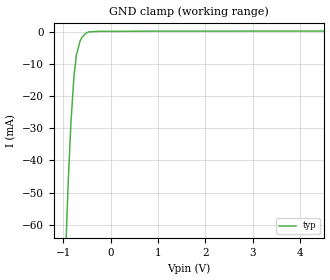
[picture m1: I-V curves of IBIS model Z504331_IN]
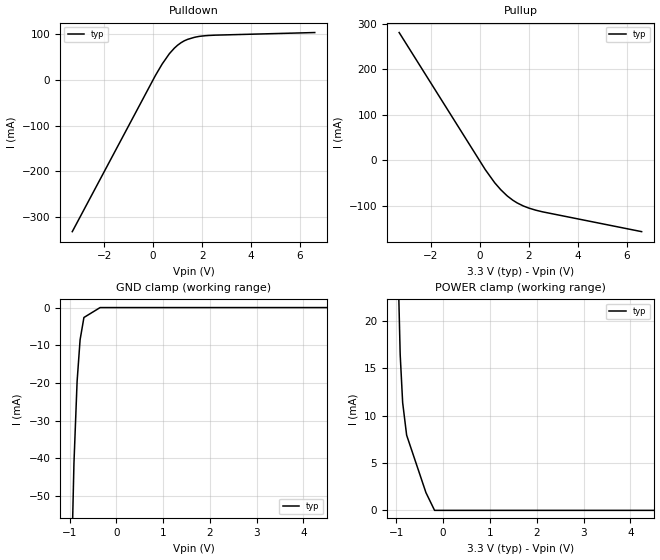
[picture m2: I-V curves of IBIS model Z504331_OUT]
| YOU ARE ONLY AUTHORIZED TO USE THIS SOFTWARE
| ACCORDING TO LICENSOR'S LICENSE RESTRICTIONS.
[IBIS Ver] 3.1
[File Name] mc74lcx04d.ibs
[File Rev] 2.0
[Source] Measured and created by ICX Technology
[Date] Friday 7/14/00 9:08:12 AM
[Copyright]
| (C) COPYRIGHT 1993-2000
| MENTOR GRAPHICS CORPORATION
| ICX STANDARD LIBRARY, ICX PROJECT MODELING,
| ICX CUSTOM MODELING, ICX VENDOR MODEL
| ALL RIGHTS RESERVED.
| THE FOLLOWING ARE TRADEMARKS OR SERVICE MARKS OF
| MENTOR GRAPHICS CORPORATION:ICX (R), ICX STANDARD
| LIBRARY(R), ICX PROJECT MODELING(R), ICX CUSTOM
| MODELING(R), qualityIBIS(TM), MODELVIEWER(TM),
| AND MODELEDITOR(TM)
| ALL COPIES OF SOFTWARE, INCLUDING BUT NOT LIMITED TO
| ANY MODIFICATIONS, ENHANCEMENTS OR DERIVATIVE WORKS,
| MUST CONTAIN ALL MENTOR GRAPHICS CORPORATION'S
| NOTICES AND LEGENDS, INCLUDING THOSE EMBEDDED IN
| SOFTWARE AND THOSE AFFIXED TO SOFTWARE MEDIUM
| AND CONTAINER, AS RECEIVED FROM MENTOR GRAPHICS
| CORPORATION.
|  ZAP Model Builder 2.7
[Component] MC74LCX04D
[Manufacturer] OnSemiconductor
[Package]
| variable   typ   min   max
R_pkg  .155ohms NA NA
L_pkg  3.028nH NA NA
C_pkg  .381pF NA NA
[Pin] signal_name  model_name  R_pin  L_pin C_pin
1 A Z504331_IN .16 3.587n .407p
2 Y Z504331_OUT .156 3.147n .387p
3 A Z504331_IN .152 2.717n .367p
4 Y Z504331_OUT .148 2.297n .347p
5 A Z504331_IN .152 2.717n .367p
6 Y Z504331_OUT .156 3.147n .387p
7 GROUND GND .16 3.587n .407p
8 Y Z504331_OUT .16 3.587n .407p
9 A Z504331_IN .156 3.147n .387p
10 Y Z504331_OUT .152 2.717n .367p
11 A Z504331_IN .148 2.297n .347p
12 Y Z504331_OUT .152 2.717n .367p
13 A Z504331_IN .156 3.147n .387p
14 VCC POWER .16 3.587n .407p
| Models and submodels in the file (2): Z504331_IN (Input), Z504331_OUT (Output)
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| (C) COPYRIGHT 1993-2000
| MENTOR GRAPHICS CORPORATION
| ICX STANDARD LIBRARY, ICX PROJECT MODELING,
| ICX CUSTOM MODELING, ICX VENDOR MODEL
| ALL RIGHTS RESERVED.
| THE FOLLOWING ARE TRADEMARKS OR SERVICE MARKS OF
| MENTOR GRAPHICS CORPORATION:ICX (R), ICX STANDARD
| LIBRARY(R), ICX PROJECT MODELING(R), ICX CUSTOM
| MODELING(R), qualityIBIS(TM), MODELVIEWER(TM),
| AND MODELEDITOR(TM)
| ALL COPIES OF SOFTWARE, INCLUDING BUT NOT LIMITED TO
| ANY MODIFICATIONS, ENHANCEMENTS OR DERIVATIVE WORKS,
| MUST CONTAIN ALL MENTOR GRAPHICS CORPORATION'S
| NOTICES AND LEGENDS, INCLUDING THOSE EMBEDDED IN
| SOFTWARE AND THOSE AFFIXED TO SOFTWARE MEDIUM
| AND CONTAINER, AS RECEIVED FROM MENTOR GRAPHICS
| CORPORATION.
| Model Application Version 1.89 2/18/99.
[Model] Z504331_IN
Model_type Input
Vinl = 800.0mV
Vinh = 2.000V
C_comp 4.000pF NA NA
| variable typ   min   max
[Voltage Range] 3.300V NA NA
[GND Clamp Reference] 0.000V NA NA
[POWER Clamp Reference] 3.300V NA NA
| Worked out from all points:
|   GND clamp passes 1 mA (typ) near -0.55 V on its own axis
[GND Clamp]
-3.3V     -1.29A     NA         NA
-1.036V   -105.1mA   NA         NA
-898.2mV  -47.41mA   NA         NA
-838mV    -28.18mA   NA         NA
-775mV    -13.96mA   NA         NA
-723.5mV  -7.287mA   NA         NA
-644.9mV  -2.913mA   NA         NA
-608.6mV  -1.894mA   NA         NA
-531.7mV  -612uA     NA         NA
-468.3mV  -127.8uA   NA         NA
865.3mV   120.3uA    NA         NA
6.6V      144.3uA    NA         NA
[POWER Clamp]
-3.3V     0A         NA         NA
6.6V      0A         NA         NA
| (C) COPYRIGHT 1993-2000
| MENTOR GRAPHICS CORPORATION
| ICX STANDARD LIBRARY, ICX PROJECT MODELING,
| ICX CUSTOM MODELING, ICX VENDOR MODEL
| ALL RIGHTS RESERVED.
| THE FOLLOWING ARE TRADEMARKS OR SERVICE MARKS OF
| MENTOR GRAPHICS CORPORATION:ICX (R), ICX STANDARD
| LIBRARY(R), ICX PROJECT MODELING(R), ICX CUSTOM
| MODELING(R), qualityIBIS(TM), MODELVIEWER(TM),
| AND MODELEDITOR(TM)
| ALL COPIES OF SOFTWARE, INCLUDING BUT NOT LIMITED TO
| ANY MODIFICATIONS, ENHANCEMENTS OR DERIVATIVE WORKS,
| MUST CONTAIN ALL MENTOR GRAPHICS CORPORATION'S
| NOTICES AND LEGENDS, INCLUDING THOSE EMBEDDED IN
| SOFTWARE AND THOSE AFFIXED TO SOFTWARE MEDIUM
| AND CONTAINER, AS RECEIVED FROM MENTOR GRAPHICS
| CORPORATION.
| Model Application Version 1.89 2/18/99.
[Model] Z504331_OUT
Model_type Output
Vref=0.000V
Rref=500.0ohms
Cref=50.00pF
Vmeas=1.500V
C_comp 8.000pF NA NA
| variable typ   min   max
[Voltage Range] 3.300V NA NA
[POWER Clamp Reference] 3.300V NA NA
[Pullup Reference] 3.300V NA NA
[Pulldown Reference] 0.000V NA NA
[GND Clamp Reference] 0.000V NA NA
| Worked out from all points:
|   slope of the pulldown table from 0 to 0.495 V, typ, clamps not added: 11.3 ohm
|   slope of the pullup table from 0 to 0.495 V, typ, clamps not added: 12.6 ohm
|   POWER clamp passes 1 mA (typ) near -0.28 V on its own axis
[GND Clamp]
-3.3V     -1.325A    NA         NA
-905.3mV  -41.38mA   NA         NA
-838mV    -19.63mA   NA         NA
-774.2mV  -8.57mA    NA         NA
-692.1mV  -2.632mA   NA         NA
-346mV    0A         NA         NA
6.6V      0A         NA         NA
[Pulldown]
-3.3V     -331.1mA   NA         NA
96.09mV   9.393mA    NA         NA
371.5mV   34.29mA    NA         NA
663.5mV   56.65mA    NA         NA
1.003V    75.29mA    NA         NA
1.409V    87.91mA    NA         NA
1.745V    93.04mA    NA         NA
2.141V    95.92mA    NA         NA
6.6V      102.8mA    NA         NA
[Pullup]
-3.3V     280.5mA    NA         NA
214mV     -20.27mA   NA         NA
602mV     -49.35mA   NA         NA
848mV     -64.53mA   NA         NA
1.111V    -78.14mA   NA         NA
1.341V    -87.59mA   NA         NA
1.515V    -93.47mA   NA         NA
1.767V    -100.2mA   NA         NA
2V        -105mA     NA         NA
2.279V    -109.5mA   NA         NA
2.553V    -113.1mA   NA         NA
6.6V      -156.6mA   NA         NA
[POWER Clamp]
-3.3V     503.9mA    NA         NA
-919mV    16.49mA    NA         NA
-866mV    11.39mA    NA         NA
-781mV    7.949mA    NA         NA
-368mV    1.871mA    NA         NA
-184mV    0A         NA         NA
6.6V      0A         NA         NA
[Ramp]
| variable typ min max
dV/dt_r 1.947/745.8p NA NA
dV/dt_f 1.947/979.8p NA NA
R_load = 500.0Ohms
